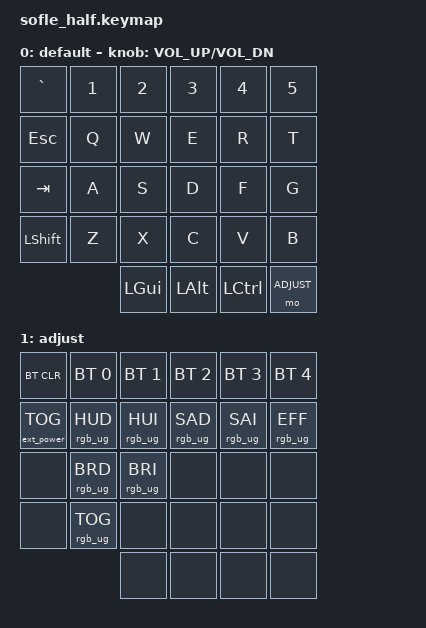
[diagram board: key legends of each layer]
#include <behaviors.dtsi>
#include <dt-bindings/zmk/keys.h>
#include <dt-bindings/zmk/bt.h>
#include <dt-bindings/zmk/rgb.h>
#include <dt-bindings/zmk/ext_power.h>

#define BASE 0
#define ADJUST 1

/ {
    keymap {
        compatible = "zmk,keymap";

        default_layer {
            display-name = "default";
// ----------------------------------------------------
// |   `   |  1  |  2  |  3   |  4   |  5   |         |
// |  ESC  |  Q  |  W  |  E   |  R   |  T   |         |
// |  TAB  |  A  |  S  |  D   |  F   |  G   |         |
// | SHIFT |  Z  |  X  |  C   |  V   |  B   |  MUTE   |
//               | GUI | ALT  | CTRL | LOWER|  ENTER  |
            bindings = <
&kp GRAVE &kp N1 &kp N2   &kp N3   &kp N4    &kp N5
&kp ESC   &kp Q  &kp W    &kp E    &kp R     &kp T
&kp TAB   &kp A  &kp S    &kp D    &kp F     &kp G
&kp LSHFT &kp Z  &kp X    &kp C    &kp V     &kp B
                 &kp LGUI &kp LALT &kp LCTRL &mo ADJUST
            >;

            sensor-bindings = <&inc_dec_kp C_VOL_UP C_VOL_DN>;
        };

        adjust_layer {
// ------------------------------------------------------------
// | BTCLR  |  BT1    |  BT2    |   BT3   |   BT4   |   BT5   |
// | EXTPWR | RGB_HUD | RGB_HUI | RGB_SAD | RGB_SAI | RGB_EFF |
// |        | RGB_BRD | RGB_BRI |         |         |         |
// |        | RGB_TOG |         |         |         |         |
//                    |         |         |         |         |
            display-name = "adjust";
            bindings = <
&bt BT_CLR        &bt BT_SEL 0    &bt BT_SEL 1    &bt BT_SEL 2    &bt BT_SEL 3    &bt BT_SEL 4
&ext_power EP_TOG &rgb_ug RGB_HUD &rgb_ug RGB_HUI &rgb_ug RGB_SAD &rgb_ug RGB_SAI &rgb_ug RGB_EFF
&none             &rgb_ug RGB_BRD &rgb_ug RGB_BRI &none           &none           &none
&none             &rgb_ug RGB_TOG &none           &none           &none           &none
                                  &none           &none           &none           &none
            >;
        };

    };
};
